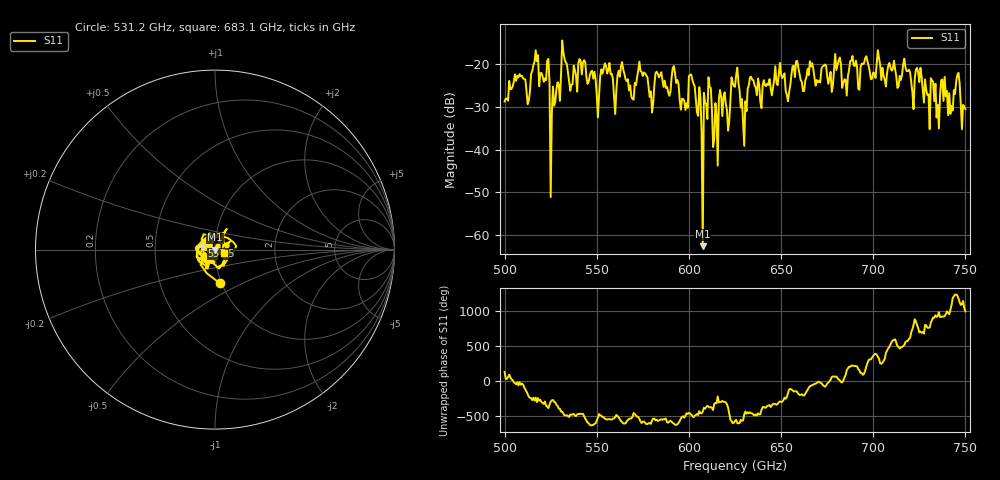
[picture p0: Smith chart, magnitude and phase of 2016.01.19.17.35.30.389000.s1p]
!Created with skrf (http://scikit-rf.org).
# GHz S RI R 50.0
!freq ReS11 ImS11
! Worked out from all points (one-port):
!   401 points, 500 GHz to 750 GHz, reference 50 ohm
!   lowest |S11| = -62.7 dB at 607.5 GHz (marker M1), VSWR 1.00, Z = 50 - j0.0729 ohm
!   |S11| at or under -10 dB: start of sweep to end of sweep
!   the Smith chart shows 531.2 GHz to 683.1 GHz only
!   S11 on the Smith chart (normalised r, x): 531.2 GHz: 0.98, -0.38; 557.5 GHz: 0.86, +0.04; 683.1 GHz: 1.10, -0.04
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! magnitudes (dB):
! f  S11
! 500 GHz  -28.7
! 513.1 GHz  -28.5
! 516.9 GHz  -16.7
! 523.1 GHz  -19.2
! 526.2 GHz  -25.2
! 531.2 GHz  -14.4
! 550.6 GHz  -32.5
! 557.5 GHz  -22.3
! 562.5 GHz  -22.9
! 568.8 GHz  -27.6
! 573.8 GHz  -21.6
! 579.4 GHz  -26.4
! 593.8 GHz  -23.7
! 598.1 GHz  -30.7
! 601.9 GHz  -23.6
! 607.5 GHz  -62.7
! 610.6 GHz  -23.1
! 614.4 GHz  -29.1
! 625 GHz  -25.3
! 630 GHz  -39.1
! 633.8 GHz  -22.9
! 656.2 GHz  -20.5
! 683.1 GHz  -25.5
! 687.5 GHz  -19.3
! 718.8 GHz  -21.6
! 734.4 GHz  -32.5
! 745.6 GHz  -22.5
! 750 GHz  -30.5
